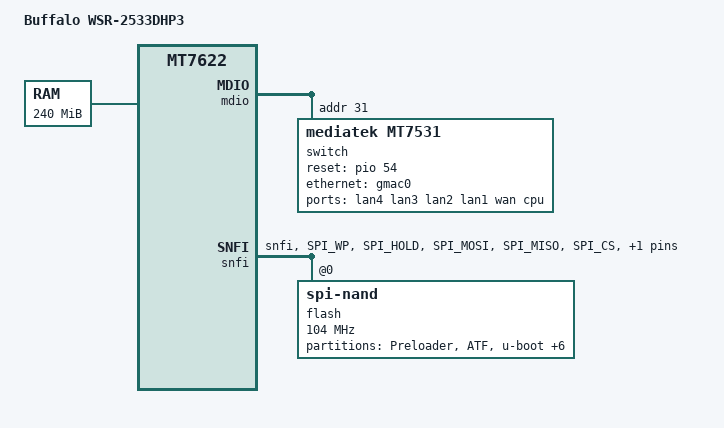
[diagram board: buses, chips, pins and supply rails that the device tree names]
// SPDX-License-Identifier: GPL-2.0-or-later OR MIT
/dts-v1/;

#include <dt-bindings/pinctrl/mt65xx.h>

#include "mt7622-buffalo-wsr.dtsi"

/ {
	model = "Buffalo WSR-2533DHP3";
	compatible = "buffalo,wsr-2533dhp3", "mediatek,mt7622";

	memory@40000000 {
		reg = <0 0x40000000 0 0x0f000000>;
		device_type = "memory";
	};
};

&pio {
	/* Serial NAND is shared pin with SPI-NOR */
	serial_nand_pins: serial-nand-pins {
		mux {
			function = "flash";
			groups = "snfi";
		};

		conf-cmd-dat {
			pins = "SPI_WP", "SPI_HOLD", "SPI_MOSI",
			       "SPI_MISO", "SPI_CS";
			input-enable;
			drive-strength = <MTK_DRIVE_16mA>;
			bias-pull-up;
		};

		conf-clk {
			pins = "SPI_CLK";
			drive-strength = <MTK_DRIVE_16mA>;
			bias-pull-down;
		};
	};
};

&mdio {
	switch@1f {
		compatible = "mediatek,mt7531";
		reg = <31>;
		reset-gpios = <&pio 54 GPIO_ACTIVE_HIGH>;

		ports {
			#address-cells = <1>;
			#size-cells = <0>;

			port@0 {
				reg = <0>;
				label = "lan4";
			};

			port@1 {
				reg = <1>;
				label = "lan3";
			};

			port@2 {
				reg = <2>;
				label = "lan2";
			};

			port@3 {
				reg = <3>;
				label = "lan1";
			};

			port@4 {
				reg = <4>;
				label = "wan";
			};

			port@6 {
				reg = <6>;
				label = "cpu";
				ethernet = <&gmac0>;
				phy-connection-type = "2500base-x";

				fixed-link {
					speed = <2500>;
					full-duplex;
					pause;
				};
			};
		};
	};
};

&snfi {
	pinctrl-names = "default";
	pinctrl-0 = <&serial_nand_pins>;
	status = "okay";

	flash@0 {
		compatible = "spi-nand";
		reg = <0>;
		spi-max-frequency = <104000000>;
		nand-ecc-engine = <&snfi>;
		mediatek,bmt-v2;
		mediatek,bmt-table-size = <0x1000>;
		/*
		 * - Preloader - (kernel (6MiB, in firmware))
		 * - Kernel2 - board_data
		 */
		mediatek,bmt-remap-range = <0x0 0x800000>,
					   <0x3400000 0x3600000>;

		partitions {
			compatible = "fixed-partitions";
			#address-cells = <1>;
			#size-cells = <1>;

			partition@0 {
				label = "Preloader";
				reg = <0x0 0x80000>;
				read-only;
			};

			partition@80000 {
				label = "ATF";
				reg = <0x80000 0x40000>;
				read-only;
			};

			partition@c0000 {
				label = "u-boot";
				reg = <0xc0000 0x80000>;
				read-only;
			};

			partition@140000 {
				label = "u-boot-env";
				reg = <0x140000 0x80000>;
				read-only;
			};

			factory: partition@1c0000 {
				label = "factory";
				reg = <0x1c0000 0x40000>;
				read-only;
			};

			partition@200000 {
				compatible = "brcm,trx";
				brcm,trx-magic = <0x33504844>;
				label = "firmware";
				reg = <0x200000 0x3200000>;
			};

			partition@3400000 {
				label = "Kernel2";
				reg = <0x3400000 0x3200000>;
			};

			partition@6600000 {
				label = "glbcfg";
				reg = <0x6600000 0x200000>;
				read-only;
			};

			partition@6800000 {
				label = "board_data";
				reg = <0x6800000 0x200000>;
				read-only;
			};
		};
	};
};
